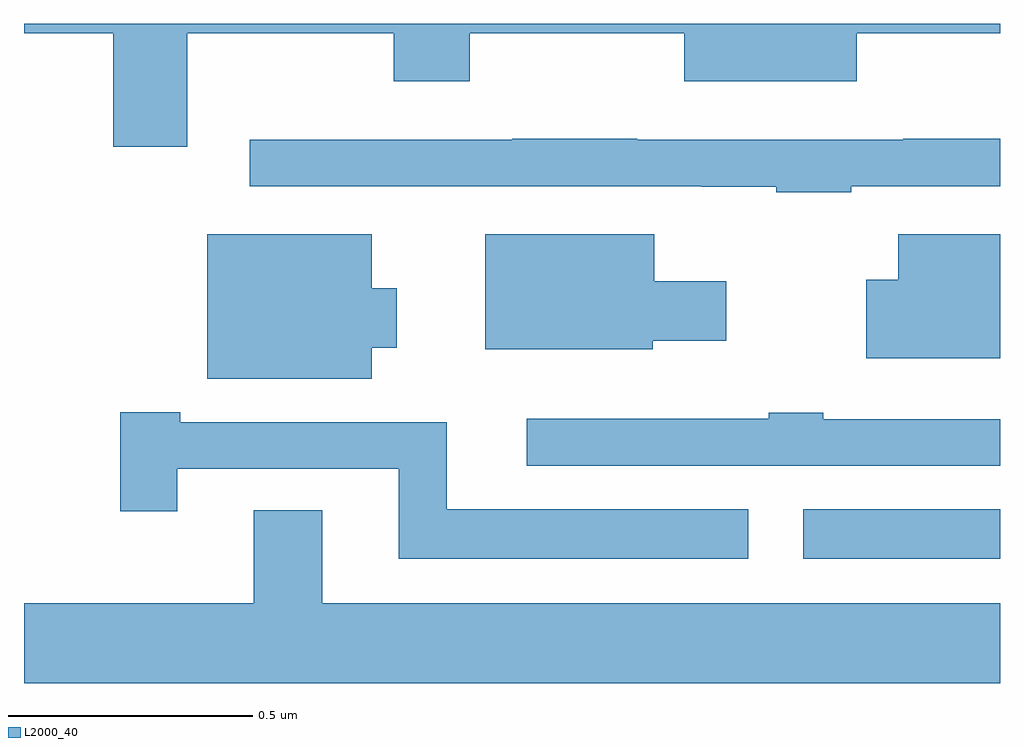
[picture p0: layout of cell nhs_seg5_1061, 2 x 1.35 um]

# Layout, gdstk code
import gdstk
lib = gdstk.Library(unit=1e-6, precision=1e-09)
def R(c, l, rs):  # rectangles x0, y0, x1, y1
    for r in rs: c.add(gdstk.rectangle(r[:2], r[2:], *l))
def P(c, l, *ps):  # polygons
    for p in ps: c.add(gdstk.Polygon(p, *l))
L2000_40 = (2000, 40)

nhs_seg5_1061 = lib.new_cell('nhs_seg5_1061')
R(nhs_seg5_1061, L2000_40, [(126.597,835.703,127,835.804)])
P(nhs_seg5_1061, L2000_40, [(125.335,836.78),(125.758,836.78),(125.758,836.681),(125.913,836.681),(125.913,836.78),(126.353,836.78),(126.353,836.681),(126.706,836.681),(126.706,836.78),(127,836.78),(127,836.799),(125,836.799),(125,836.78),(125.183,836.78),(125.183,836.547),(125.335,836.547)],
  [(126.695,836.466),(127,836.466),(127,836.564),(126.802,836.564),(126.802,836.562),(126.257,836.562),(126.257,836.564),(126.001,836.564),(126.001,836.562),(125.463,836.562),(125.463,836.466),(126.388,836.466),(126.388,836.465),(126.542,836.465),(126.542,836.454),(126.695,836.454)],
  [(127,836.368),(126.791,836.368),(126.791,836.275),(126.726,836.275),(126.726,836.114),(127,836.114)],
  [(126.288,836.15),(126.439,836.15),(126.439,836.272),(126.292,836.272),(126.292,836.368),(125.945,836.368),(125.945,836.132),(126.288,836.132)],
  [(125.713,836.135),(125.764,836.135),(125.764,836.257),(125.713,836.257),(125.713,836.368),(125.375,836.368),(125.375,836.072),(125.713,836.072)],
  [(126.484,835.804),(125.866,835.804),(125.866,835.983),(125.32,835.983),(125.32,836.003),(125.197,836.003),(125.197,835.8),(125.314,835.8),(125.314,835.887),(125.768,835.887),(125.768,835.703),(126.484,835.703)],
  [(127,835.989),(126.638,835.989),(126.638,836.002),(126.526,836.002),(126.526,835.99),(126.03,835.99),(126.03,835.893),(127,835.893)],
  [(127,835.612),(125.611,835.612),(125.611,835.802),(125.471,835.802),(125.471,835.612),(125,835.612),(125,835.448),(127,835.448)])

lib.write_gds('nhs_seg5_1061.gds')
